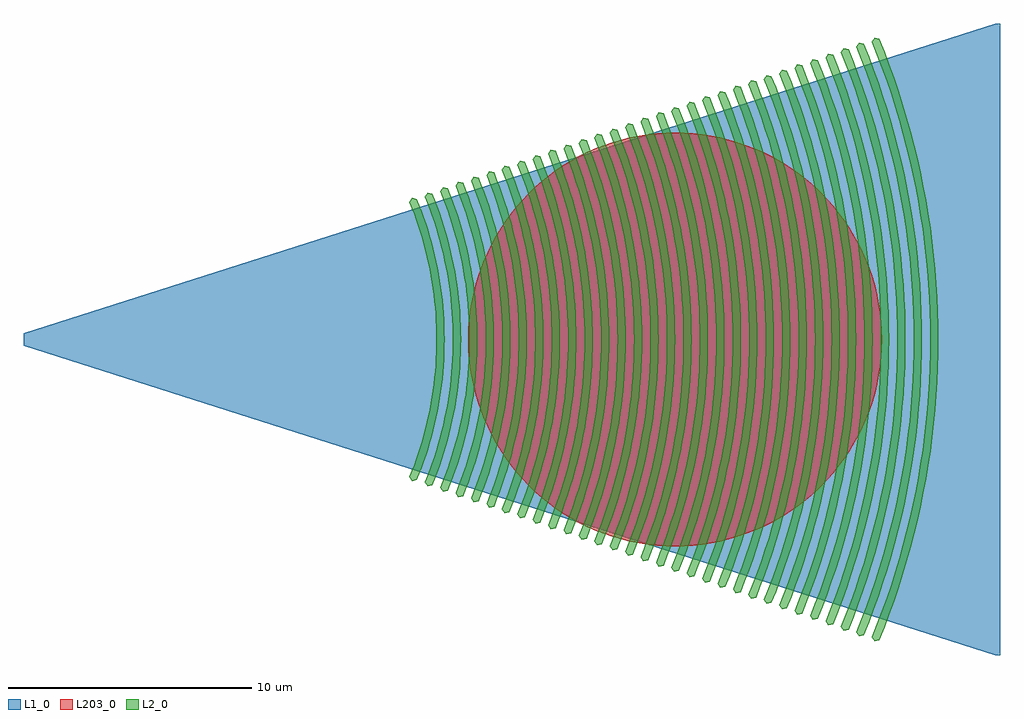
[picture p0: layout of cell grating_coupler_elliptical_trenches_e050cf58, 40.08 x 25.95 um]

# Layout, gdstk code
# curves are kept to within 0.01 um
import gdstk
lib = gdstk.Library(unit=1e-6, precision=1e-09)
def P(c, l, *ps):  # polygons
    for p in ps: c.add(gdstk.Polygon(p, *l))
L1_0 = (1, 0)
L2_0 = (2, 0)
L203_0 = (203, 0)

grating_coupler_elliptic = lib.new_cell('grating_coupler_elliptical_trenches_e050cf58')
P(grating_coupler_elliptic, L1_0, [(0,-0.25),(0,0.25),(39.88,12.973),(40.08,12.973),(40.08,-12.973),(39.88,-12.973)])
P(grating_coupler_elliptic, L2_0, [(15.943,-5.811),(15.83,-5.646),(16.109,-4.906),(16.348,-4.153),(16.548,-3.39),(16.707,-2.617),(16.79,-2.097),(16.881,-1.313),(16.918,-0.789),(16.937,0),(16.918,0.789),(16.881,1.313),(16.79,2.097),(16.707,2.617),(16.548,3.39),(16.348,4.153),(16.109,4.906),(15.83,5.646),(15.943,5.811),(16.138,5.769),(16.238,5.52),(16.592,4.504),(16.872,3.465),(17.034,2.675),(17.156,1.877),(17.234,1.075),(17.272,0),(17.234,-1.075),(17.156,-1.877),(17.034,-2.675),(16.872,-3.465),(16.592,-4.504),(16.238,-5.52),(16.138,-5.769)],
  [(16.576,-6.03),(16.462,-5.865),(16.753,-5.096),(17.076,-4.052),(17.268,-3.255),(17.42,-2.449),(17.497,-1.908),(17.576,-1.092),(17.614,0),(17.576,1.092),(17.497,1.908),(17.42,2.449),(17.268,3.255),(17.076,4.052),(16.753,5.096),(16.462,5.865),(16.576,6.03),(16.772,5.989),(16.875,5.73),(17.242,4.675),(17.533,3.597),(17.702,2.777),(17.859,1.671),(17.924,0.837),(17.948,0),(17.924,-0.837),(17.859,-1.671),(17.702,-2.777),(17.533,-3.597),(17.242,-4.675),(16.875,-5.73),(16.772,-5.989)],
  [(17.208,-6.25),(17.094,-6.085),(17.396,-5.287),(17.655,-4.476),(17.87,-3.653),(18.04,-2.82),(18.131,-2.26),(18.228,-1.415),(18.268,-0.85),(18.29,0),(18.268,0.85),(18.228,1.415),(18.131,2.26),(18.04,2.82),(17.87,3.653),(17.655,4.476),(17.396,5.287),(17.094,6.085),(17.208,6.25),(17.405,6.208),(17.614,5.669),(17.975,4.569),(18.258,3.446),(18.417,2.593),(18.532,1.733),(18.6,0.868),(18.623,0),(18.6,-0.868),(18.532,-1.733),(18.417,-2.593),(18.258,-3.446),(17.975,-4.569),(17.614,-5.669),(17.405,-6.208)],
  [(17.842,-6.469),(17.728,-6.305),(18.04,-5.478),(18.308,-4.638),(18.53,-3.785),(18.708,-2.922),(18.84,-2.051),(18.902,-1.466),(18.956,-0.587),(18.966,0),(18.956,0.587),(18.902,1.466),(18.84,2.051),(18.708,2.922),(18.53,3.785),(18.308,4.638),(18.04,5.478),(17.728,6.305),(17.842,6.469),(18.038,6.428),(18.254,5.87),(18.451,5.303),(18.628,4.731),(18.921,3.568),(19.086,2.685),(19.204,1.794),(19.276,0.898),(19.3,0),(19.276,-0.898),(19.204,-1.794),(19.086,-2.685),(18.921,-3.568),(18.628,-4.731),(18.451,-5.303),(18.254,-5.87),(18.038,-6.428)],
  [(18.475,-6.689),(18.36,-6.524),(18.684,-5.669),(18.96,-4.799),(19.192,-3.917),(19.375,-3.024),(19.47,-2.423),(19.576,-1.518),(19.632,-0.608),(19.642,0),(19.632,0.608),(19.576,1.518),(19.47,2.423),(19.375,3.024),(19.192,3.917),(18.96,4.799),(18.684,5.669),(18.36,6.524),(18.475,6.689),(18.67,6.647),(18.894,6.07),(19.098,5.484),(19.28,4.892),(19.442,4.294),(19.584,3.69),(19.754,2.776),(19.876,1.855),(19.951,0.929),(19.976,0),(19.951,-0.929),(19.876,-1.855),(19.754,-2.776),(19.584,-3.69),(19.442,-4.294),(19.28,-4.892),(19.098,-5.484),(18.894,-6.07),(18.67,-6.647)],
  [(19.108,-6.908),(18.994,-6.744),(19.328,-5.86),(19.614,-4.961),(19.852,-4.049),(20.042,-3.125),(20.142,-2.505),(20.248,-1.569),(20.294,-0.942),(20.318,0),(20.294,0.942),(20.248,1.569),(20.142,2.505),(20.042,3.125),(19.852,4.049),(19.614,4.961),(19.328,5.86),(18.994,6.744),(19.108,6.908),(19.302,6.867),(19.534,6.271),(19.744,5.666),(19.934,5.054),(20.247,3.812),(20.423,2.868),(20.55,1.916),(20.626,0.96),(20.652,0),(20.626,-0.96),(20.55,-1.916),(20.423,-2.868),(20.247,-3.812),(19.934,-5.054),(19.744,-5.666),(19.534,-6.271),(19.302,-6.867)],
  [(19.741,-7.128),(19.626,-6.963),(19.972,-6.05),(20.266,-5.122),(20.512,-4.18),(20.708,-3.227),(20.812,-2.586),(20.923,-1.62),(20.969,-0.973),(20.994,0),(20.969,0.973),(20.923,1.62),(20.812,2.586),(20.708,3.227),(20.512,4.18),(20.266,5.122),(19.972,6.05),(19.626,6.963),(19.741,7.128),(19.936,7.086),(20.174,6.471),(20.392,5.847),(20.586,5.215),(20.76,4.577),(20.91,3.934),(21.092,2.96),(21.222,1.978),(21.301,0.99),(21.327,0),(21.301,-0.99),(21.222,-1.978),(21.092,-2.96),(20.91,-3.934),(20.76,-4.577),(20.586,-5.215),(20.392,-5.847),(20.174,-6.471),(19.936,-7.086)],
  [(20.372,-7.347),(20.26,-7.183),(20.615,-6.241),(20.92,-5.284),(21.174,-4.312),(21.376,-3.329),(21.482,-2.668),(21.597,-1.671),(21.644,-1.003),(21.67,0),(21.644,1.003),(21.597,1.671),(21.482,2.668),(21.376,3.329),(21.174,4.312),(20.92,5.284),(20.615,6.241),(20.26,7.183),(20.372,7.347),(20.568,7.306),(20.814,6.671),(21.039,6.028),(21.24,5.377),(21.418,4.719),(21.573,4.056),(21.76,3.051),(21.896,2.039),(21.976,1.021),(22.004,0),(21.976,-1.021),(21.896,-2.039),(21.76,-3.051),(21.573,-4.056),(21.418,-4.719),(21.24,-5.377),(21.039,-6.028),(20.814,-6.671),(20.568,-7.306)],
  [(21.006,-7.567),(20.893,-7.402),(21.259,-6.432),(21.573,-5.445),(21.835,-4.444),(22.042,-3.431),(22.198,-2.408),(22.271,-1.722),(22.334,-0.689),(22.346,0),(22.334,0.689),(22.271,1.722),(22.198,2.408),(22.042,3.431),(21.835,4.444),(21.573,5.445),(21.259,6.432),(20.893,7.402),(21.006,7.567),(21.202,7.525),(21.454,6.872),(21.686,6.209),(21.893,5.538),(22.076,4.861),(22.236,4.177),(22.43,3.143),(22.568,2.1),(22.652,1.052),(22.68,0),(22.652,-1.052),(22.568,-2.1),(22.43,-3.143),(22.236,-4.177),(22.076,-4.861),(21.893,-5.538),(21.686,-6.209),(21.454,-6.872),(21.202,-7.525)],
  [(21.638,-7.786),(21.526,-7.622),(21.902,-6.623),(22.226,-5.607),(22.495,-4.576),(22.71,-3.532),(22.823,-2.831),(22.943,-1.773),(23.01,-0.71),(23.022,0),(23.01,0.71),(22.943,1.773),(22.823,2.831),(22.71,3.532),(22.495,4.576),(22.226,5.607),(21.902,6.623),(21.526,7.622),(21.638,7.786),(21.835,7.745),(22.096,7.072),(22.332,6.39),(22.546,5.7),(22.734,5.002),(22.899,4.299),(23.098,3.235),(23.24,2.161),(23.326,1.082),(23.356,0),(23.326,-1.082),(23.24,-2.161),(23.098,-3.235),(22.899,-4.299),(22.734,-5.002),(22.546,-5.7),(22.332,-6.39),(22.096,-7.072),(21.835,-7.745)],
  [(22.272,-8.006),(22.158,-7.841),(22.546,-6.813),(22.878,-5.769),(23.156,-4.708),(23.376,-3.634),(23.493,-2.913),(23.618,-1.824),(23.67,-1.095),(23.698,0),(23.67,1.095),(23.618,1.824),(23.493,2.913),(23.376,3.634),(23.156,4.708),(22.878,5.769),(22.546,6.813),(22.158,7.841),(22.272,8.006),(22.468,7.964),(22.736,7.273),(22.98,6.571),(23.198,5.861),(23.393,5.144),(23.562,4.421),(23.766,3.326),(23.914,2.223),(24.001,1.113),(24.032,0),(24.001,-1.113),(23.914,-2.223),(23.766,-3.326),(23.562,-4.421),(23.393,-5.144),(23.198,-5.861),(22.98,-6.571),(22.736,-7.273),(22.468,-7.964)],
  [(22.905,-8.225),(22.79,-8.061),(23.19,-7.004),(23.533,-5.93),(23.817,-4.84),(24.044,-3.736),(24.162,-2.994),(24.292,-1.875),(24.344,-1.126),(24.373,0),(24.344,1.126),(24.292,1.875),(24.162,2.994),(24.044,3.736),(23.817,4.84),(23.533,5.93),(23.19,7.004),(22.79,8.061),(22.905,8.225),(23.1,8.184),(23.376,7.473),(23.626,6.752),(23.852,6.023),(24.052,5.286),(24.225,4.543),(24.436,3.418),(24.586,2.284),(24.676,1.144),(24.708,0),(24.676,-1.144),(24.586,-2.284),(24.436,-3.418),(24.225,-4.543),(24.052,-5.286),(23.852,-6.023),(23.626,-6.752),(23.376,-7.473),(23.1,-8.184)],
  [(23.538,-8.445),(23.424,-8.28),(23.833,-7.195),(24.186,-6.092),(24.478,-4.971),(24.71,-3.838),(24.884,-2.693),(24.966,-1.926),(25.036,-0.771),(25.05,0),(25.036,0.771),(24.966,1.926),(24.884,2.693),(24.71,3.838),(24.478,4.971),(24.186,6.092),(23.833,7.195),(23.424,8.28),(23.538,8.445),(23.734,8.403),(24.149,7.304),(24.393,6.56),(24.61,5.807),(24.888,4.665),(25.104,3.51),(25.259,2.345),(25.352,1.174),(25.384,0),(25.352,-1.174),(25.259,-2.345),(25.104,-3.51),(24.888,-4.665),(24.61,-5.807),(24.393,-6.56),(24.149,-7.304),(23.734,-8.403)],
  [(24.17,-8.664),(24.057,-8.5),(24.478,-7.386),(24.838,-6.253),(25.138,-5.103),(25.378,-3.939),(25.556,-2.765),(25.638,-1.977),(25.713,-0.792),(25.726,0),(25.713,0.792),(25.638,1.977),(25.556,2.765),(25.378,3.939),(25.138,5.103),(24.838,6.253),(24.478,7.386),(24.057,8.5),(24.17,8.664),(24.366,8.623),(24.792,7.495),(25.158,6.346),(25.368,5.57),(25.551,4.787),(25.772,3.601),(25.932,2.406),(26.028,1.205),(26.059,0),(26.028,-1.205),(25.932,-2.406),(25.772,-3.601),(25.551,-4.787),(25.368,-5.57),(25.158,-6.346),(24.792,-7.495),(24.366,-8.623)],
  [(24.804,-8.884),(24.69,-8.719),(25.122,-7.577),(25.492,-6.415),(25.8,-5.235),(26.045,-4.041),(26.174,-3.239),(26.312,-2.028),(26.37,-1.218),(26.402,0),(26.37,1.218),(26.312,2.028),(26.174,3.239),(26.045,4.041),(25.8,5.235),(25.492,6.415),(25.122,7.577),(24.69,8.719),(24.804,8.884),(24.998,8.842),(25.436,7.686),(25.812,6.507),(26.027,5.711),(26.214,4.908),(26.442,3.693),(26.604,2.468),(26.702,1.236),(26.736,0),(26.702,-1.236),(26.604,-2.468),(26.442,-3.693),(26.214,-4.908),(26.027,-5.711),(25.812,-6.507),(25.436,-7.686),(24.998,-8.842)],
  [(25.436,-9.103),(25.323,-8.939),(25.765,-7.767),(26.144,-6.576),(26.46,-5.367),(26.711,-4.143),(26.844,-3.32),(26.987,-2.079),(27.064,-0.833),(27.077,0),(27.064,0.833),(26.987,2.079),(26.844,3.32),(26.711,4.143),(26.46,5.367),(26.144,6.576),(25.765,7.767),(25.323,8.939),(25.436,9.103),(25.632,9.062),(26.08,7.877),(26.344,7.074),(26.579,6.262),(26.876,5.03),(27.11,3.785),(27.278,2.529),(27.378,1.266),(27.412,0),(27.378,-1.266),(27.278,-2.529),(27.11,-3.785),(26.876,-5.03),(26.579,-6.262),(26.344,-7.074),(26.08,-7.877),(25.632,-9.062)],
  [(26.068,-9.323),(25.955,-9.158),(26.408,-7.958),(26.798,-6.738),(27.122,-5.499),(27.378,-4.245),(27.57,-2.979),(27.661,-2.13),(27.72,-1.279),(27.754,0),(27.72,1.279),(27.661,2.13),(27.57,2.979),(27.378,4.245),(27.122,5.499),(26.798,6.738),(26.408,7.958),(25.955,9.158),(26.068,9.323),(26.265,9.281),(26.724,8.068),(27.118,6.83),(27.344,5.995),(27.54,5.152),(27.778,3.876),(27.949,2.59),(28.052,1.297),(28.088,0),(28.052,-1.297),(27.949,-2.59),(27.778,-3.876),(27.54,-5.152),(27.344,-5.995),(27.118,-6.83),(26.724,-8.068),(26.265,-9.281)],
  [(26.702,-9.542),(26.588,-9.378),(27.052,-8.149),(27.451,-6.899),(27.781,-5.63),(28.046,-4.346),(28.242,-3.05),(28.333,-2.181),(28.396,-1.31),(28.43,0),(28.396,1.31),(28.333,2.181),(28.242,3.05),(28.046,4.346),(27.781,5.63),(27.451,6.899),(27.052,8.149),(26.588,9.378),(26.702,9.542),(26.897,9.501),(27.366,8.258),(27.771,6.992),(28.001,6.137),(28.204,5.274),(28.448,3.968),(28.622,2.651),(28.728,1.328),(28.763,0),(28.728,-1.328),(28.622,-2.651),(28.448,-3.968),(28.204,-5.274),(28.001,-6.137),(27.771,-6.992),(27.366,-8.258),(26.897,-9.501)],
  [(27.335,-9.762),(27.222,-9.597),(27.696,-8.34),(28.104,-7.061),(28.442,-5.762),(28.713,-4.448),(28.914,-3.122),(29.007,-2.233),(29.091,-0.894),(29.106,0),(29.091,0.894),(29.007,2.233),(28.914,3.122),(28.713,4.448),(28.442,5.762),(28.104,7.061),(27.696,8.34),(27.222,9.597),(27.335,9.762),(27.53,9.72),(28.01,8.449),(28.424,7.153),(28.661,6.278),(28.866,5.396),(29.116,4.06),(29.296,2.713),(29.403,1.358),(29.44,0),(29.403,-1.358),(29.296,-2.713),(29.116,-4.06),(28.866,-5.396),(28.661,-6.278),(28.424,-7.153),(28.01,-8.449),(27.53,-9.72)],
  [(27.967,-9.982),(27.854,-9.817),(28.339,-8.531),(28.756,-7.222),(29.104,-5.894),(29.379,-4.55),(29.585,-3.193),(29.682,-2.284),(29.766,-0.914),(29.781,0),(29.766,0.914),(29.682,2.284),(29.585,3.193),(29.379,4.55),(29.104,5.894),(28.756,7.222),(28.339,8.531),(27.854,9.817),(27.967,9.982),(28.164,9.94),(28.655,8.64),(28.943,7.759),(29.202,6.869),(29.53,5.518),(29.784,4.151),(29.969,2.774),(30.079,1.389),(30.116,0),(30.079,-1.389),(29.969,-2.774),(29.784,-4.151),(29.53,-5.518),(29.202,-6.869),(28.943,-7.759),(28.655,-8.64),(28.164,-9.94)],
  [(28.6,-10.201),(28.487,-10.036),(28.984,-8.721),(29.409,-7.384),(29.765,-6.026),(30.046,-4.652),(30.256,-3.265),(30.356,-2.335),(30.442,-0.935),(30.458,0),(30.442,0.935),(30.356,2.335),(30.256,3.265),(30.046,4.652),(29.765,6.026),(29.409,7.384),(28.984,8.721),(28.487,10.036),(28.6,10.201),(28.796,10.159),(29.298,8.831),(29.594,7.93),(29.858,7.02),(30.192,5.639),(30.454,4.243),(30.64,2.835),(30.754,1.42),(30.792,0),(30.754,-1.42),(30.64,-2.835),(30.454,-4.243),(30.192,-5.639),(29.858,-7.02),(29.594,-7.93),(29.298,-8.831),(28.796,-10.159)],
  [(29.234,-10.421),(29.12,-10.256),(29.628,-8.912),(30.062,-7.545),(30.426,-6.158),(30.714,-4.753),(30.928,-3.336),(31.028,-2.386),(31.097,-1.433),(31.134,0),(31.097,1.433),(31.028,2.386),(30.928,3.336),(30.714,4.753),(30.426,6.158),(30.062,7.545),(29.628,8.912),(29.12,10.256),(29.234,10.421),(29.43,10.379),(29.942,9.022),(30.244,8.102),(30.513,7.172),(30.856,5.761),(31.122,4.335),(31.314,2.897),(31.429,1.45),(31.467,0),(31.429,-1.45),(31.314,-2.897),(31.122,-4.335),(30.856,-5.761),(30.513,-7.172),(30.244,-8.102),(29.942,-9.022),(29.43,-10.379)],
  [(29.866,-10.64),(29.752,-10.475),(30.272,-9.103),(30.716,-7.707),(31.086,-6.29),(31.292,-5.335),(31.38,-4.855),(31.535,-3.891),(31.702,-2.437),(31.772,-1.463),(31.809,0),(31.772,1.463),(31.702,2.437),(31.535,3.891),(31.38,4.855),(31.292,5.335),(31.086,6.29),(30.716,7.707),(30.272,9.103),(29.752,10.475),(29.866,10.64),(30.062,10.598),(30.586,9.212),(31.036,7.799),(31.293,6.845),(31.518,5.883),(31.791,4.426),(31.986,2.958),(32.104,1.481),(32.144,0),(32.104,-1.481),(31.986,-2.958),(31.791,-4.426),(31.518,-5.883),(31.293,-6.845),(31.036,-7.799),(30.586,-9.212),(30.062,-10.598)],
  [(30.5,-10.86),(30.385,-10.695),(30.914,-9.294),(31.368,-7.868),(31.504,-7.388),(31.746,-6.421),(32.047,-4.957),(32.272,-3.479),(32.376,-2.488),(32.468,-0.996),(32.485,0),(32.468,0.996),(32.376,2.488),(32.272,3.479),(32.047,4.957),(31.746,6.421),(31.504,7.388),(31.368,7.868),(30.914,9.294),(30.385,10.695),(30.5,10.86),(30.694,10.818),(30.882,10.35),(31.229,9.403),(31.688,7.961),(31.952,6.987),(32.181,6.005),(32.459,4.518),(32.659,3.019),(32.779,1.512),(32.82,0),(32.779,-1.512),(32.659,-3.019),(32.459,-4.518),(32.181,-6.005),(31.952,-6.987),(31.688,-7.961),(31.229,-9.403),(30.882,-10.35),(30.694,-10.818)],
  [(31.132,-11.079),(31.018,-10.914),(31.388,-9.964),(31.558,-9.484),(32.022,-8.03),(32.407,-6.553),(32.622,-5.559),(32.714,-5.059),(32.876,-4.054),(33.05,-2.539),(33.122,-1.525),(33.162,0),(33.122,1.525),(33.05,2.539),(32.876,4.054),(32.714,5.059),(32.622,5.559),(32.407,6.553),(32.022,8.03),(31.558,9.484),(31.388,9.964),(31.018,10.914),(31.132,11.079),(31.327,11.038),(31.873,9.594),(32.342,8.123),(32.61,7.129),(32.844,6.127),(33.128,4.61),(33.206,4.101),(33.331,3.08),(33.382,2.568),(33.454,1.542),(33.495,0),(33.454,-1.542),(33.382,-2.568),(33.331,-3.08),(33.206,-4.101),(33.128,-4.61),(32.844,-6.127),(32.61,-7.129),(32.342,-8.123),(31.873,-9.594),(31.327,-11.038)],
  [(31.764,-11.299),(31.651,-11.134),(32.202,-9.675),(32.674,-8.191),(32.816,-7.692),(33.068,-6.685),(33.382,-5.16),(33.546,-4.136),(33.724,-2.59),(33.82,-1.037),(33.837,0),(33.82,1.037),(33.724,2.59),(33.546,4.136),(33.382,5.16),(33.068,6.685),(32.816,7.692),(32.674,8.191),(32.202,9.675),(31.651,11.134),(31.764,11.299),(31.96,11.257),(32.516,9.785),(32.844,8.787),(33.136,7.779),(33.27,7.271),(33.508,6.249),(33.797,4.702),(33.876,4.183),(34.004,3.142),(34.098,2.096),(34.129,1.573),(34.172,0),(34.129,-1.573),(34.098,-2.096),(34.004,-3.142),(33.876,-4.183),(33.797,-4.702),(33.508,-6.249),(33.27,-7.271),(33.136,-7.779),(32.844,-8.787),(32.516,-9.785),(31.96,-11.257)],
  [(32.397,-11.518),(32.284,-11.353),(32.846,-9.866),(33.328,-8.353),(33.73,-6.817),(33.846,-6.301),(34.048,-5.262),(34.216,-4.217),(34.398,-2.641),(34.472,-1.586),(34.51,-0.529),(34.514,0),(34.51,0.529),(34.472,1.586),(34.398,2.641),(34.216,4.217),(34.048,5.262),(33.846,6.301),(33.73,6.817),(33.328,8.353),(32.846,9.866),(32.284,11.353),(32.397,11.518),(32.593,11.477),(33.16,9.975),(33.648,8.446),(33.928,7.413),(34.17,6.37),(34.465,4.793),(34.546,4.264),(34.678,3.203),(34.804,1.604),(34.848,0),(34.804,-1.604),(34.678,-3.203),(34.546,-4.264),(34.465,-4.793),(34.17,-6.37),(33.928,-7.413),(33.648,-8.446),(33.16,-9.975),(32.593,-11.477)],
  [(33.03,-11.738),(32.918,-11.573),(33.489,-10.057),(33.982,-8.514),(34.264,-7.473),(34.39,-6.949),(34.715,-5.364),(34.806,-4.832),(34.958,-3.765),(35.071,-2.692),(35.148,-1.617),(35.19,0),(35.148,1.617),(35.071,2.692),(34.958,3.765),(34.806,4.832),(34.715,5.364),(34.39,6.949),(34.264,7.473),(33.982,8.514),(33.489,10.057),(32.918,11.573),(33.03,11.738),(33.226,11.696),(33.428,11.19),(33.804,10.166),(34.144,9.13),(34.448,8.082),(34.834,6.492),(35.044,5.422),(35.134,4.885),(35.288,3.806),(35.35,3.264),(35.48,1.634),(35.523,0),(35.48,-1.634),(35.35,-3.264),(35.288,-3.806),(35.134,-4.885),(35.044,-5.422),(34.834,-6.492),(34.448,-8.082),(34.144,-9.13),(33.804,-10.166),(33.428,-11.19),(33.226,-11.696)],
  [(33.663,-11.957),(33.55,-11.792),(34.134,-10.248),(34.634,-8.676),(35.052,-7.081),(35.282,-6.006),(35.382,-5.466),(35.556,-4.381),(35.692,-3.29),(35.744,-2.743),(35.822,-1.647),(35.866,0),(35.822,1.647),(35.744,2.743),(35.692,3.29),(35.556,4.381),(35.382,5.466),(35.282,6.006),(35.052,7.081),(34.634,8.676),(34.134,10.248),(33.55,11.792),(33.663,11.957),(33.86,11.916),(34.448,10.357),(34.794,9.301),(35.104,8.234),(35.376,7.156),(35.496,6.614),(35.803,4.977),(35.959,3.877),(36.022,3.325),(36.076,2.773),(36.154,1.665),(36.18,1.11),(36.199,0),(36.18,-1.11),(36.154,-1.665),(36.076,-2.773),(36.022,-3.325),(35.959,-3.877),(35.803,-4.977),(35.496,-6.614),(35.376,-7.156),(35.104,-8.234),(34.794,-9.301),(34.448,-10.357),(33.86,-11.916)],
  [(34.296,-12.177),(34.182,-12.012),(34.778,-10.438),(35.288,-8.837),(35.712,-7.212),(36.05,-5.567),(36.144,-5.016),(36.3,-3.907),(36.418,-2.794),(36.498,-1.678),(36.538,-0.56),(36.541,0),(36.538,0.56),(36.498,1.678),(36.418,2.794),(36.3,3.907),(36.144,5.016),(36.05,5.567),(35.712,7.212),(35.288,8.837),(34.778,10.438),(34.182,12.012),(34.296,12.177),(34.492,12.135),(34.702,11.61),(35.092,10.548),(35.608,8.93),(35.902,7.838),(36.16,6.736),(36.378,5.626),(36.472,5.068),(36.632,3.948),(36.696,3.387),(36.796,2.26),(36.83,1.696),(36.876,0),(36.83,-1.696),(36.796,-2.26),(36.696,-3.387),(36.632,-3.948),(36.472,-5.068),(36.378,-5.626),(36.16,-6.736),(35.902,-7.838),(35.608,-8.93),(35.092,-10.548),(34.702,-11.61),(34.492,-12.135)],
  [(34.93,-12.396),(34.815,-12.232),(35.028,-11.7),(35.422,-10.629),(35.94,-8.999),(36.094,-8.45),(36.372,-7.344),(36.498,-6.788),(36.716,-5.669),(36.898,-4.544),(37.038,-3.413),(37.092,-2.845),(37.138,-2.277),(37.198,-1.139),(37.218,0),(37.198,1.139),(37.138,2.277),(37.092,2.845),(37.038,3.413),(36.898,4.544),(36.716,5.669),(36.498,6.788),(36.372,7.344),(36.094,8.45),(35.94,8.999),(35.422,10.629),(35.028,11.7),(34.815,12.232),(34.93,12.396),(35.126,12.355),(35.736,10.739),(36.096,9.644),(36.416,8.537),(36.562,7.98),(36.822,6.858),(36.938,6.294),(37.14,5.16),(37.226,4.591),(37.368,3.448),(37.424,2.875),(37.506,1.726),(37.552,0),(37.506,-1.726),(37.47,-2.301),(37.368,-3.448),(37.226,-4.591),(37.14,-5.16),(37.044,-5.728),(36.822,-6.858),(36.562,-7.98),(36.416,-8.537),(36.096,-9.644),(35.736,-10.739),(35.126,-12.355)])
P(grating_coupler_elliptic, L203_0, [(35.24,0),(35.208,0.741),(35.111,1.476),(35.039,1.84),(34.847,2.556),(34.593,3.253),(34.28,3.925),(33.909,4.567),(33.484,5.174),(33.007,5.743),(32.75,6.01),(32.483,6.267),(31.914,6.744),(31.307,7.169),(30.665,7.54),(29.993,7.853),(29.296,8.107),(28.58,8.299),(28.216,8.371),(27.481,8.468),(26.74,8.5),(25.999,8.468),(25.264,8.371),(24.9,8.299),(24.184,8.107),(23.487,7.853),(22.815,7.54),(22.173,7.169),(21.566,6.744),(20.997,6.267),(20.73,6.01),(20.473,5.743),(19.996,5.174),(19.571,4.567),(19.2,3.925),(18.887,3.253),(18.633,2.556),(18.441,1.84),(18.369,1.476),(18.272,0.741),(18.24,0),(18.272,-0.741),(18.369,-1.476),(18.441,-1.84),(18.633,-2.556),(18.887,-3.253),(19.2,-3.925),(19.571,-4.567),(19.996,-5.174),(20.473,-5.743),(20.73,-6.01),(20.997,-6.267),(21.566,-6.744),(22.173,-7.169),(22.815,-7.54),(23.487,-7.853),(24.184,-8.107),(24.9,-8.299),(25.264,-8.371),(25.999,-8.468),(26.74,-8.5),(27.481,-8.468),(28.216,-8.371),(28.58,-8.299),(29.296,-8.107),(29.993,-7.853),(30.665,-7.54),(31.307,-7.169),(31.914,-6.744),(32.483,-6.267),(32.75,-6.01),(33.007,-5.743),(33.484,-5.174),(33.909,-4.567),(34.28,-3.925),(34.593,-3.253),(34.847,-2.556),(35.039,-1.84),(35.111,-1.476),(35.208,-0.741)])

lib.write_gds('grating_coupler_elliptical_trenches_e050cf58.gds')
